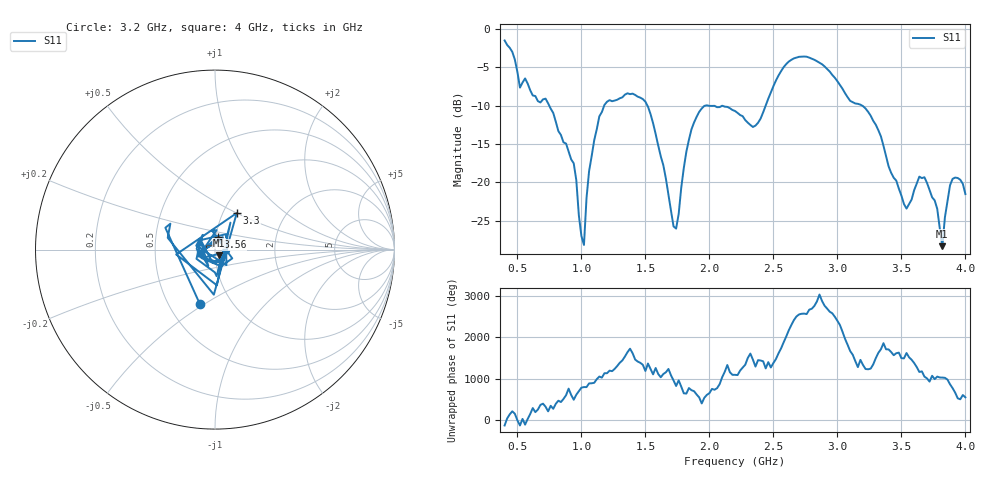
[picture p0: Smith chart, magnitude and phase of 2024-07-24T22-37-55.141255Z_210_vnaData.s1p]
!Created with skrf (http://scikit-rf.org).
# Hz S RI R 50.0
!freq ReS11 ImS11
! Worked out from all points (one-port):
!   181 points, 400 MHz to 4 GHz, reference 50 ohm
!   lowest |S11| = -28.3 dB at 3.82 GHz (marker M1), VSWR 1.08, Z = 52.4 - j3.13 ohm
!   |S11| at or under -10 dB: 1.515 GHz to 1.974 GHz (458.2 MHz wide, 26.3 % of centre); 1.987 GHz to 2.44 GHz (452.9 MHz wide, 20.5 % of centre); 3.192 GHz to end of sweep (the widest 3 of 4)
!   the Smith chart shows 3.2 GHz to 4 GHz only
!   S11 on the Smith chart (normalised r, x): 3.2 GHz: 0.71, -0.48; 3.3 GHz: 1.16, +0.50; 3.56 GHz: 1.02, +0.15; 4 GHz: 0.85, -0.03
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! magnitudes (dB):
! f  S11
! 400 MHz  -1.5
! 520 MHz  -7.7
! 720 MHz  -9.1
! 860 MHz  -14.8
! 940 MHz  -17.5
! 1.02 GHz  -28.2
! 1.06 GHz  -18.5
! 1.14 GHz  -11.4
! 1.3 GHz  -9.1
! 1.52 GHz  -10.2
! 1.64 GHz  -17.8
! 1.72 GHz  -25.7
! 1.76 GHz  -24.1
! 1.82 GHz  -16.0
! 1.92 GHz  -10.8
! 2.2 GHz  -10.7
! 2.36 GHz  -12.6
! 2.66 GHz  -3.9
! 2.88 GHz  -4.6
! 3.1 GHz  -9.4
! 3.2 GHz  -10.1
! 3.3 GHz  -12.5
! 3.56 GHz  -22.8
! 3.68 GHz  -19.3
! 3.78 GHz  -23.5
! 3.82 GHz  -28.3
! 3.9 GHz  -19.6
! 4 GHz  -21.5
